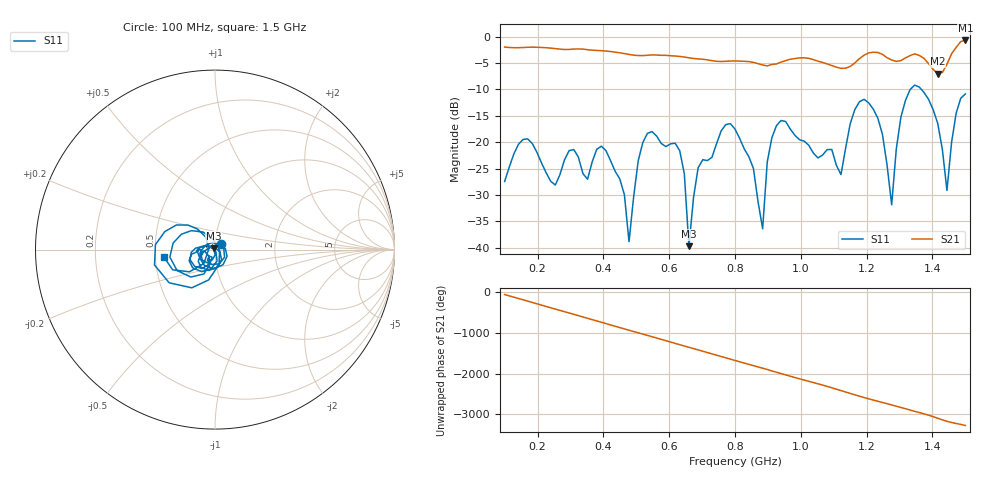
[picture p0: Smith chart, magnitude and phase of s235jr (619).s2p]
! NanoVNA-App
! Date: 2025-09-25 15:08:59
! Start: 100MHz Stop: 1,5GHz Points: 101
! S-Parameter data: F S11 S21 S12 S22
# Hz S RI R 50
!  Frequency  S11_Real  S11_Imag  S21_Real  S21_Imag  S12_Real  S12_Imag  S22_Real  S22_Imag
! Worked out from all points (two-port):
!   101 points, 100 MHz to 1.5 GHz, reference 50 ohm
!   highest |S21| = -0.71 dB at 1.5 GHz (marker M1); lowest = -7.0 dB at 1.416 GHz (marker M2)
!   |S21| within 3 dB of the highest: start of sweep to 626.7 MHz; 1.188 GHz to 1.256 GHz (68.25 MHz wide, 5.59 % of centre)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
!   lowest |S11| = -39.7 dB at 660 MHz (marker M3), VSWR 1.02, Z = 49.2 + j0.639 ohm
!   |S11| at or under -10 dB: start of sweep to 1.332 GHz; 1.366 GHz to end of sweep
!   S12 and S22 are empty: the file has one direction only
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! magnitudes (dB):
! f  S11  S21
! 100 MHz  -27.5  -2.0
! 170 MHz  -19.4  -2.0
! 338 MHz  -26.0  -2.3
! 408 MHz  -21.6  -2.7
! 478 MHz  -38.9  -3.4
! 520 MHz  -20.1  -3.6
! 576 MHz  -20.2  -3.5
! 632 MHz  -21.6  -3.7
! 660 MHz  -39.7  -4.0
! 688 MHz  -24.9  -4.2
! 800 MHz  -17.5  -4.6
! 884 MHz  -36.4  -5.4
! 926 MHz  -16.9  -5.2
! 1.038 GHz  -22.1  -4.3
! 1.122 GHz  -26.2  -6.0
! 1.192 GHz  -11.9  -3.5
! 1.248 GHz  -18.5  -3.3
! 1.276 GHz  -31.9  -4.4
! 1.332 GHz  -10.0  -3.6
! 1.416 GHz  -16.4  -7.0
! 1.444 GHz  -29.2  -5.2
! 1.5 GHz  -10.9  -0.7
